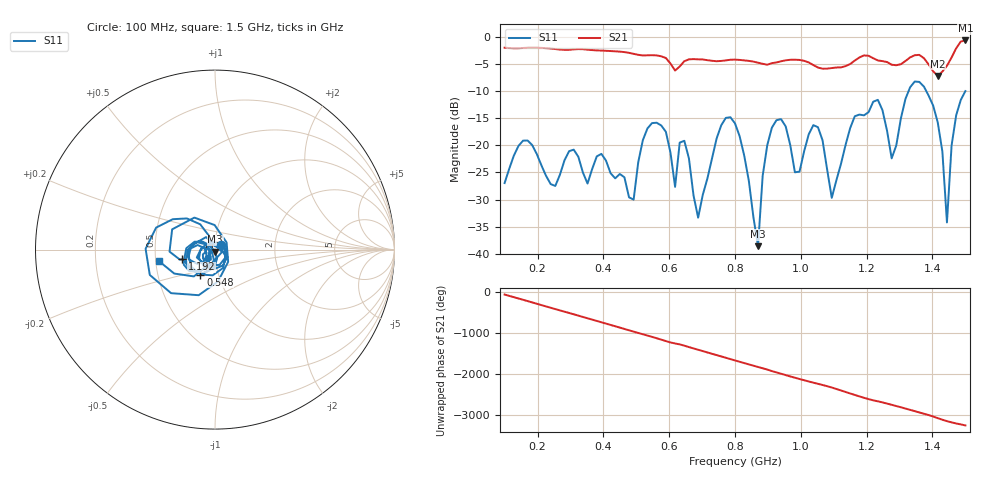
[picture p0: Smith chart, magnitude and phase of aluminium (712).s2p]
! NanoVNA-App
! Date: 2025-09-25 15:00:49
! Start: 100MHz Stop: 1,5GHz Points: 101
! S-Parameter data: F S11 S21 S12 S22
# Hz S RI R 50
!  Frequency  S11_Real  S11_Imag  S21_Real  S21_Imag  S12_Real  S12_Imag  S22_Real  S22_Imag
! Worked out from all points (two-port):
!   101 points, 100 MHz to 1.5 GHz, reference 50 ohm
!   highest |S21| = -0.58 dB at 1.5 GHz (marker M1); lowest = -7.1 dB at 1.416 GHz (marker M2)
!   |S21| within 3 dB of the highest: start of sweep to 579 MHz; 1.459 GHz to end of sweep (the widest 2 of 4)
!   lowest |S11| = -38.6 dB at 870 MHz (marker M3), VSWR 1.02, Z = 50 - j1.17 ohm
!   |S11| at or under -10 dB: start of sweep to 1.327 GHz; 1.382 GHz to 1.5 GHz (118 MHz wide, 8.19 % of centre)
!   S12 and S22 are empty: the file has one direction only
!   S11 on the Smith chart (normalised r, x): 100 MHz: 1.07, +0.06; 548 MHz: 0.82, -0.23; 1.192 GHz: 0.69, -0.08; 1.5 GHz: 0.52, -0.07
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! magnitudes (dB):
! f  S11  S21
! 100 MHz  -27.0  -1.9
! 156 MHz  -19.1  -2.0
! 338 MHz  -25.0  -2.2
! 492 MHz  -30.0  -3.1
! 548 MHz  -15.9  -3.3
! 576 MHz  -16.3  -3.5
! 618 MHz  -27.7  -6.1
! 646 MHz  -19.1  -4.4
! 688 MHz  -33.4  -4.1
! 800 MHz  -15.9  -4.1
! 870 MHz  -38.6  -4.7
! 912 MHz  -16.7  -4.8
! 982 MHz  -25.0  -4.1
! 1.038 GHz  -16.2  -5.1
! 1.094 GHz  -29.7  -5.7
! 1.192 GHz  -14.4  -3.3
! 1.276 GHz  -22.4  -5.1
! 1.346 GHz  -8.2  -3.3
! 1.416 GHz  -15.7  -7.1
! 1.444 GHz  -34.2  -5.3
! 1.458 GHz  -20.0  -3.7
! 1.5 GHz  -9.9  -0.6
